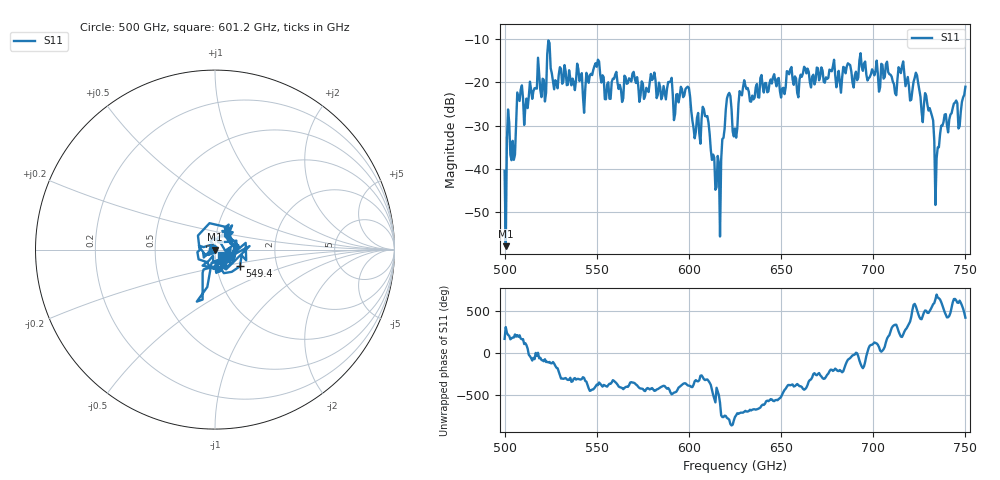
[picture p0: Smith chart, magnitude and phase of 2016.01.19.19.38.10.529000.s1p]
!Created with skrf (http://scikit-rf.org).
# GHz S RI R 50.0
!freq ReS11 ImS11
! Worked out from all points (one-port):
!   401 points, 500 GHz to 750 GHz, reference 50 ohm
!   lowest |S11| = -58.0 dB at 500.6 GHz (marker M1), VSWR 1.00, Z = 50.1 - j0.0951 ohm
!   |S11| at or under -10 dB: start of sweep to end of sweep
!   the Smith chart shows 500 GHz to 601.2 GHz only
!   S11 on the Smith chart (normalised r, x): 500 GHz: 0.98, +0.00; 549.4 GHz: 1.30, -0.25; 601.2 GHz: 1.07, -0.07
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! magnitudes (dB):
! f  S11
! 500 GHz  -40.5
! 500.6 GHz  -58.0
! 502.5 GHz  -29.3
! 505 GHz  -38.0
! 508.1 GHz  -24.3
! 521.2 GHz  -19.4
! 524.4 GHz  -10.9
! 527.5 GHz  -19.5
! 531.2 GHz  -20.3
! 543.8 GHz  -21.6
! 549.4 GHz  -15.5
! 562.5 GHz  -20.5
! 580.6 GHz  -19.0
! 593.8 GHz  -22.7
! 599.4 GHz  -21.0
! 601.2 GHz  -26.5
! 609.4 GHz  -27.9
! 615.6 GHz  -37.1
! 621.2 GHz  -22.8
! 625 GHz  -30.7
! 630.6 GHz  -20.7
! 656.2 GHz  -19.3
! 687.5 GHz  -16.0
! 718.8 GHz  -18.7
! 729.4 GHz  -25.2
! 734.4 GHz  -37.6
! 738.1 GHz  -29.2
! 750 GHz  -21.0
